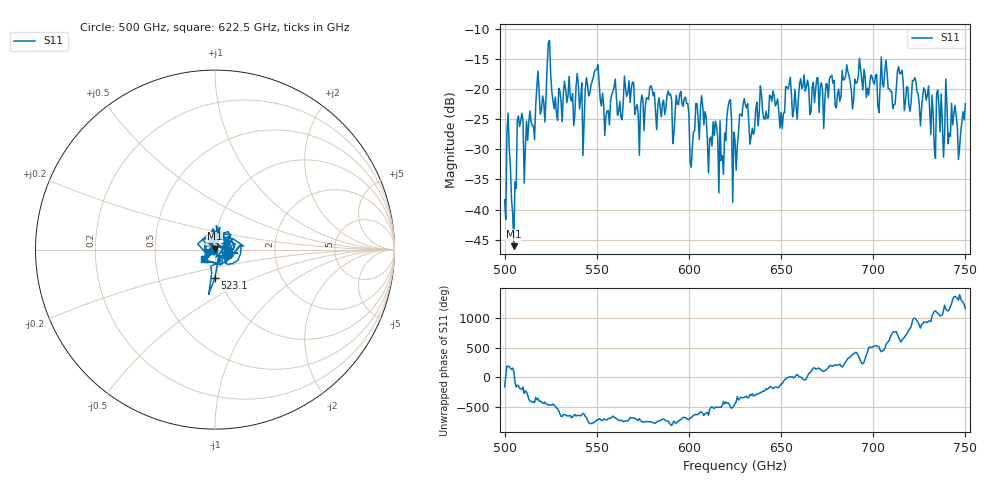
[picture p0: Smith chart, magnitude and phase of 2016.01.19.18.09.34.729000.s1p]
!Created with skrf (http://scikit-rf.org).
# GHz S RI R 50.0
!freq ReS11 ImS11
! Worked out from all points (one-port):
!   401 points, 500 GHz to 750 GHz, reference 50 ohm
!   lowest |S11| = -46.1 dB at 505 GHz (marker M1), VSWR 1.01, Z = 49.9 + j0.49 ohm
!   |S11| at or under -10 dB: start of sweep to end of sweep
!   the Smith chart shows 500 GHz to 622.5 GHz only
!   S11 on the Smith chart (normalised r, x): 500 GHz: 0.98, -0.01; 523.1 GHz: 0.95, -0.31; 622.5 GHz: 0.88, -0.10
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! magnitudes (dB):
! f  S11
! 500 GHz  -38.4
! 502.5 GHz  -29.7
! 505 GHz  -46.1
! 508.1 GHz  -26.2
! 511.9 GHz  -25.3
! 523.1 GHz  -15.9
! 531.2 GHz  -25.4
! 541.9 GHz  -19.0
! 549.4 GHz  -16.8
! 555.6 GHz  -23.6
! 559.4 GHz  -19.8
! 562.5 GHz  -22.1
! 593.8 GHz  -22.5
! 598.8 GHz  -22.4
! 601.9 GHz  -29.5
! 607.5 GHz  -22.8
! 617.5 GHz  -31.9
! 622.5 GHz  -21.8
! 625 GHz  -28.4
! 630.6 GHz  -22.6
! 634.4 GHz  -26.5
! 656.2 GHz  -24.6
! 687.5 GHz  -18.9
! 710.6 GHz  -23.3
! 714.4 GHz  -17.5
! 718.8 GHz  -19.7
! 746.9 GHz  -29.6
! 750 GHz  -22.4
